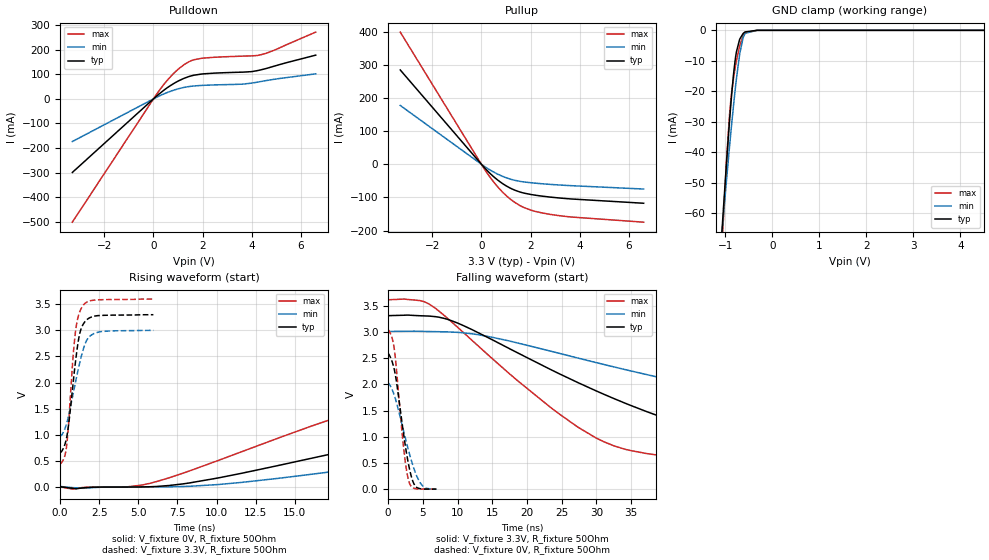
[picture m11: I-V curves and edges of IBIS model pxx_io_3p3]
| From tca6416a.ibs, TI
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|   pxx_io_3p3 Model
[Model]   pxx_io_3p3
Model_type   I/O
Polarity   Non-Inverting
Enable   Active-Low
Vinl = 0.99
Vinh = 2.31
Vmeas = 1.65
Vref = 0
Cref = 50pF
Rref = 50
|   typ   min   max
|   (nom PVT)   (fast PVT)   (slow PVT)
C_comp   2.616e-12   2.463e-12   2.823e-12
[Model spec]
|subparameter
Vinl   0.99   0.9   1.08
Vinh   2.31   2.1   2.52
| Where nom  PVT is Nominal Process, 3.3V, 27C
|   Fast PVT is Strong Process,  3.6V, -40C
|   Slow PVT is Weak Process,   3V, 106C
[Voltage Range]   3.3   3   3.6
|Junction Temperature
[Temperature Range]   27   106   -40
[Pullup Reference]   3.3   3   3.6
[Pulldown Reference]   0   0   0
[Power Clamp Reference]   3.3   3   3.6
[GND Clamp Reference]   0   0   0
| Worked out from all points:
|   slope of the pulldown table from 0 to 0.495 V, typ, clamps not added: 12.2 ohm
|   slope of the pullup table from 0 to 0.495 V, typ, clamps not added: 13.3 ohm
|   GND clamp passes 1 mA (typ) near -0.62 V on its own axis
|   falling waveform, V_fixture 3.3V, R_fixture 50Ohm: 20-80 % time 27.6ns typ, 48.2ns min, 17.6ns max; typ from 3.3 V to 0.669 V
|   rising waveform, V_fixture 0V, R_fixture 50Ohm: 20-80 % time 30.2ns typ, 44ns min, 19.6ns max; typ from 0 V to 2.57 V
|   rising waveform, V_fixture 3.3V, R_fixture 50Ohm: 20-80 % time 608ps typ, 880ps min, 471ps max; typ from 0.668 V to 3.3 V
|   falling waveform, V_fixture 0V, R_fixture 50Ohm: 20-80 % time 1.69ns typ, 2.4ns min, 1.29ns max; typ from 2.57 V to 0.002 V
[Pulldown]
|   Voltage   I(typ)   I(min)   I(max)
-3.3V     -299.8mA   -173.8mA   -502.4mA
165mV     14.52mA    8.392mA    24.31mA
597.3mV   47.87mA    27.38mA    79.83mA
1.053V    74.98mA    42.22mA    124.7mA
1.524V    93.44mA    51.33mA    155.1mA
1.959V    101.2mA    54.88mA    165.4mA
3.627V    109mA      60.04mA    174.2mA
3.973V    110.9mA    64.07mA    175.3mA
4.368V    118.3mA    70.74mA    179.7mA
4.944V    134.3mA    80.39mA    199.6mA
6.6V      178.3mA    102mA      272.2mA
[GND Clamp]
|   Voltage   I(typ)   I(min)   I(max)
-3.3V     -714.1mA   -569.9mA   -914.8mA
-1.074V   -66.23mA   -66.92mA   -71.85mA
-1.05V    -60.51mA   -62.48mA   -64.38mA
-974.4mV  -43.16mA   -48.9mA    -42.44mA
-916.8mV  -30.84mA   -39.02mA   -28.74mA
-862.8mV  -20.45mA   -30.22mA   -19.93mA
-821.7mV  -13.72mA   -23.91mA   -15.2mA
-765mV    -7.064mA   -15.92mA   -9.99mA
-693.6mV  -2.873mA   -7.616mA   -4.964mA
-623.7mV  -1.074mA   -2.5mA     -1.875mA
-579mV    -513.7uA   -991.3uA   -836.5uA
6.6V      0A         0A         0A
[Pullup]
|   Voltage   I(typ)   I(min)   I(max)
-3.3V     284.4mA    177.4mA    398.7mA
170.4mV   -14.04mA   -8.772mA   -19.78mA
656.7mV   -47.28mA   -29.57mA   -67.61mA
948mV     -62.5mA    -39.02mA   -90.33mA
1.23V     -74mA      -46mA      -108.2mA
1.647V    -85.47mA   -52.52mA   -127.7mA
2.01V     -91.2mA    -55.77mA   -138.3mA
2.809V    -99.21mA   -60.85mA   -151.5mA
3.63V     -104.7mA   -64.61mA   -159.1mA
6.6V      -117.7mA   -74.81mA   -174.8mA
[POWER Clamp]
|   Voltage   I(typ)   I(min)   I(max)
-3.3V     0A         0A         0A
0V        0A         0A         0A
6.6V      0A         0A         0A
[Ramp]
R_load = 50
|   typ   min   max
dV/dt_r   1.54143/3.0111e-08   1.20236/4.38398e-08   1.81465/1.95202e-08
dV/dt_f   1.57851/2.76263e-08   1.20271/4.81568e-08   1.88693/1.75378e-08
[Falling Waveform]
V_fixture = 3.3V
V_fixture_min = 3V
V_fixture_max = 3.6V
R_fixture = 50Ohm
|   Time   V(typ)   V(min)   V(max)
0s        3.3V       3V         3.6V
5.84ns    3.3V       3.005V     3.533V
10.72ns   3.126V     2.982V     3.002V
27.32ns   2.033V     2.501V     1.185V
32.58ns   1.725V     2.329V     824.4mV
38.7ns    1.409V     2.141V     652.6mV
46.36ns   1.105V     1.928V     567.5mV
55.84ns   906.5mV    1.699V     518.4mV
90.54ns   718.8mV    1.207V     466.8mV
200ns     669.2mV    995.5mV    455.1mV
[Rising Waveform]
V_fixture = 0V
V_fixture_min = 0V
V_fixture_max = 0V
R_fixture = 50Ohm
|   Time   V(typ)   V(min)   V(max)
0s        1.258nV    21.8nV     590.1pV
6.14ns    7.392mV    -1.28mV    99.63mV
11.6ns    260.2mV    85.67mV    673.1mV
20.24ns   819.4mV    401.1mV    1.593V
29.14ns   1.347V     733.1mV    2.333V
35.06ns   1.643V     932mV      2.642V
42.28ns   1.941V     1.145V     2.815V
59.22ns   2.33V      1.523V     2.95V
92.26ns   2.511V     1.865V     3.009V
200ns     2.569V     2.004V     3.024V
[Rising Waveform]
V_fixture = 3.3V
V_fixture_min = 3V
V_fixture_max = 3.6V
R_fixture = 50Ohm
|   Time   V(typ)   V(min)   V(max)
0s        668mV      983.4mV    455mV
380ps     897.5mV    1.181V     707.9mV
500ps     1.102V     1.312V     1.052V
800ps     1.905V     1.738V     2.398V
960ps     2.345V     1.976V     2.922V
1.18ns    2.83V      2.283V     3.291V
1.4ns     3.075V     2.555V     3.449V
1.72ns    3.207V     2.821V     3.544V
2.2ns     3.273V     2.943V     3.58V
5.96ns    3.299V     2.999V     3.599V
[Falling Waveform]
V_fixture = 0V
V_fixture_min = 0V
V_fixture_max = 0V
R_fixture = 50Ohm
|   Time   V(typ)   V(min)   V(max)
0s        2.57V      2.01V      3.025V
520ps     2.456V     1.917V     2.906V
900ps     2.279V     1.789V     2.666V
1.3ns     1.967V     1.608V     2.145V
2.26ns    1.03V      1.098V     762.2mV
2.62ns    717mV      906.5mV    395.8mV
2.98ns    452.8mV    723.2mV    155.8mV
3.7ns     110.2mV    403.1mV    19.8mV
4.82ns    5.198mV    87.21mV    3.097mV
6.96ns    2.289mV    1.556mV    3.516mV
